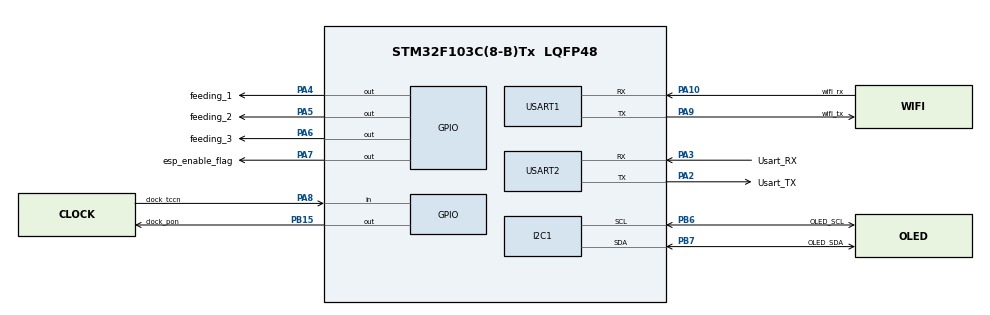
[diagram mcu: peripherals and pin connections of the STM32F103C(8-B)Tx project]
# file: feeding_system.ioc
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Mcu.Family=STM32F1
Mcu.Name=STM32F103C(8-B)Tx
Mcu.Package=LQFP48
NVIC.PriorityGroup=NVIC_PRIORITYGROUP_4
NVIC.USART1_IRQn=true\:0\:0\:false\:false\:true\:false\:true\:true\:true
NVIC.USART2_IRQn=true\:0\:0\:false\:false\:true\:false\:true\:true\:true
PA10.GPIO_Label=wifi_rx
PA10.Mode=Asynchronous
PA10.Signal=USART1_RX
PA13.Mode=Serial_Wire
PA13.Signal=SYS_JTMS-SWDIO
PA14.Mode=Serial_Wire
PA14.Signal=SYS_JTCK-SWCLK
PA2.GPIO_Label=Usart_TX
PA2.Mode=Asynchronous
PA2.Signal=USART2_TX
PA3.GPIO_Label=Usart_RX
PA3.Mode=Asynchronous
PA3.Signal=USART2_RX
PA4.GPIO_Label=feeding_1
PA4.Signal=GPIO_Output
PA5.GPIO_Label=feeding_2
PA5.Signal=GPIO_Output
PA6.GPIO_Label=feeding_3
PA6.Signal=GPIO_Output
PA7.GPIO_Label=esp_enable_flag
PA7.Signal=GPIO_Output
PA8.GPIO_Label=clock_tccn
PA8.Signal=GPIO_Input
PA9.GPIO_Label=wifi_tx
PA9.Mode=Asynchronous
PA9.Signal=USART1_TX
PB15.GPIO_Label=clock_pon
PB15.Signal=GPIO_Output
PB6.GPIO_Label=OLED_SCL
PB6.Mode=I2C
PB6.Signal=I2C1_SCL
PB7.GPIO_Label=OLED_SDA
PB7.Mode=I2C
PB7.Signal=I2C1_SDA
ProjectManager.HeapSize=0x200
ProjectManager.StackSize=0x400
ProjectManager.TargetToolchain=MDK-ARM V5.32
RCC.APB1Freq_Value=8000000
RCC.APB2Freq_Value=8000000
RealThread.RT-Thread.3.1.5.RTOSJjkernel=true
RealThread.RT-Thread.3.1.5.RTOSJjshell=true
USART1.VirtualMode=VM_ASYNC
USART2.VirtualMode=VM_ASYNC
VP_RealThread.RT-Thread_VS_RTOSJjkernel_3.1.5_3.1.5.Mode=RTOSJjkernel
VP_RealThread.RT-Thread_VS_RTOSJjshell_3.1.5_3.1.5.Mode=RTOSJjshell
board=custom

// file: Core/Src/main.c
/* USER CODE BEGIN Header */
/**
  ******************************************************************************
  * @file           : main.c
  * @brief          : Main program body
  ******************************************************************************
  * @attention
  *
  * Copyright (c) 2023 STMicroelectronics.
  * All rights reserved.
  *
  * This software is licensed under terms that can be found in the LICENSE file
  * in the root directory of this software component.
  * If no LICENSE file comes with this software, it is provided AS-IS.
  *
  ******************************************************************************
  */
/* USER CODE END Header */

#include "main.h"
#include "i2c.h"
#include "usart.h"
#include "gpio.h"

/* USER CODE BEGIN Includes */
#include <rtthread.h>
#include "stdio.h"
#include "string.h"
#include "feeding.h"
#include "stdlib.h"
#include "flash.h"
/* USER CODE END Includes */

/* USER CODE BEGIN PV */
#define BUFFER_SIZE 200
/* USER CODE END PV */

void SystemClock_Config(void);

/* USER CODE BEGIN 0 */
#define BUFFER_SIZE 200

uint8_t usart1_c;
uint8_t usart2_c;

uint8_t usart2_rx_buffer[BUFFER_SIZE];
uint8_t usart2_rx_index = 0;

uint8_t usart1_rx_buffer[BUFFER_SIZE];
uint8_t usart1_rx_index = 0;

int feedNumFlag = 0;

void Esp01s_Init(char* ip, char* password, char* port);
void sendData(UART_HandleTypeDef *huart, const char *str);
void parseAndProcessCommand(char *command);
char* extractData(const char* input) ;
void flash_test();
/* USER CODE END 0 */

int main(void)
{

  /* MCU Configuration--------------------------------------------------------*/

  /* Reset of all peripherals, Initializes the Flash interface and the Systick. */
  HAL_Init();

  /* USER CODE BEGIN Init */
  feeding_init();
  /* USER CODE END Init */

  /* Configure the system clock */
  SystemClock_Config();

  /* Initialize all configured peripherals */
  MX_GPIO_Init();
  MX_I2C1_Init();
  MX_USART1_UART_Init();
  MX_USART2_UART_Init();

  Esp01s_Init("AspyRain","Lxr20030106","8080");
  rt_thread_mdelay(500);
  //  rt_thread_t flash_thread = rt_thread_create("flash_test", flash_test, RT_NULL, 2048, 4, 10);
  //rt_thread_startup(flash_thread);
 // flash_test();
  /* Infinite loop */
  /* USER CODE BEGIN WHILE */
  char* w_data = (char*)malloc(50);
  int i=0;
  while (1){
  sprintf(w_data, "this is data: %d",i++);
  flash_write_string(w_data);
  rt_kprintf("Write\n");
  rt_thread_mdelay(1000);
  rt_kprintf("read data is : %s \n",flash_read_string());
  rt_thread_mdelay(1000);
  }
  /* USER CODE END 3 */
}

void SystemClock_Config(void)
{
  RCC_OscInitTypeDef RCC_OscInitStruct = {0};
  RCC_ClkInitTypeDef RCC_ClkInitStruct = {0};

  /** Initializes the RCC Oscillators according to the specified parameters
  * in the RCC_OscInitTypeDef structure.
  */
  RCC_OscInitStruct.OscillatorType = RCC_OSCILLATORTYPE_HSI;
  RCC_OscInitStruct.HSIState = RCC_HSI_ON;
  RCC_OscInitStruct.HSICalibrationValue = RCC_HSICALIBRATION_DEFAULT;
  RCC_OscInitStruct.PLL.PLLState = RCC_PLL_NONE;
  if (HAL_RCC_OscConfig(&RCC_OscInitStruct) != HAL_OK)
  {
    Error_Handler();
  }

  /** Initializes the CPU, AHB and APB buses clocks
  */
  RCC_ClkInitStruct.ClockType = RCC_CLOCKTYPE_HCLK|RCC_CLOCKTYPE_SYSCLK
                              |RCC_CLOCKTYPE_PCLK1|RCC_CLOCKTYPE_PCLK2;
  RCC_ClkInitStruct.SYSCLKSource = RCC_SYSCLKSOURCE_HSI;
  RCC_ClkInitStruct.AHBCLKDivider = RCC_SYSCLK_DIV1;
  RCC_ClkInitStruct.APB1CLKDivider = RCC_HCLK_DIV1;
  RCC_ClkInitStruct.APB2CLKDivider = RCC_HCLK_DIV1;

  if (HAL_RCC_ClockConfig(&RCC_ClkInitStruct, FLASH_LATENCY_0) != HAL_OK)
  {
    Error_Handler();
  }
}
void Esp01s_Init(char* ip, char* password, char* port) {
  // 禁用USART1接收中断
  __HAL_UART_DISABLE_IT(&huart1, UART_IT_RXNE);

  char command[50];
  // 发送初始化指令到ESP01S
  sprintf(command, "AT+CWJAP=\"%s\",\"%s\"\r\n", ip, password);
  sendData(&huart1, command);
  rt_thread_mdelay(1000);  // 等待一段时间

  sprintf(command, "AT+CIPMUX=1\r\n");
  sendData(&huart1, command);
  rt_thread_mdelay(1000);

  sprintf(command, "AT+CIPSERVER=1,%s\r\n", port);
  sendData(&huart1, command);
  rt_thread_mdelay(2000);
  HAL_GPIO_WritePin(esp_enable_flag_GPIO_Port, esp_enable_flag_Pin, GPIO_PIN_SET);

  // 清空接收缓冲区
  huart1.Instance->DR; // 读取数据寄存器，将接收缓冲区中的数据清空

  // 重新启用USART1接收中断
  __HAL_UART_ENABLE_IT(&huart1, UART_IT_RXNE);
  HAL_UART_Receive_IT(&huart1, (uint8_t *)&usart1_c, 1);
  rt_kprintf("初始化完成\n");
}
void sendData(UART_HandleTypeDef *huart, const char *str) {
  HAL_UART_Transmit(huart, (uint8_t *)str, strlen(str), HAL_MAX_DELAY);
}

void HAL_UART_RxCpltCallback(UART_HandleTypeDef *huart) {
  if (huart == &huart1) {

    // 在这里处理接收到的数据
    if (usart1_c == '+') {
      // 开始接收一条新指令
      usart1_rx_index = 0;
    }

    usart1_rx_buffer[usart1_rx_index++] = usart1_c;

    if (strstr((const char*)usart1_rx_buffer, "CLOSED") != NULL) {
      // 收到一条完整的指令

      usart1_rx_buffer[usart1_rx_index] = '\0'; // 添加字符串结束符

      // 在这里解析指令
      parseAndProcessCommand((char*)usart1_rx_buffer);

      // 清空接收缓冲区，准备接收下一条指令
      usart1_rx_index = 0;
      memset(usart1_rx_buffer,0,sizeof(usart1_rx_buffer));
    }
    // 继续启动下一次接收
      HAL_UART_Receive_IT(&huart1, (uint8_t *)&usart1_c, 1);

  }

}

void parseAndProcessCommand(char *command) {
  // 在这里解析和处理指令

  if (command != NULL) {
    char* data=extractData(command);
    // 在这里处理提取出的值
    // 将提取出的值存储到全局变量中
    feedNumFlag =atoi(data);

    if (feedNumFlag>0 && feedNumFlag<4){
     toggle_feed(feedNumFlag);
    }
  }
}
char* extractData(const char* input) {
    // 找到真正数据的起始位置
    const char* dataStart = strstr(input, ":");
    if (dataStart == NULL) {
        // 如果没有找到冒号，返回空指针表示失败
        return NULL;
    }

    // 获取真正数据的长度
    int dataLength = atoi(input + 7);

    // 分配足够的空间来存储真正数据
    char* extractedData = (char*)malloc((dataLength + 1) * sizeof(char));

    // 复制真正数据到提取的字符串中
    strncpy(extractedData, dataStart + 1, dataLength);
    extractedData[dataLength] = '\0'; // 添加字符串终止符

    return extractedData;
}
void flash_test(){

}
/* USER CODE END 4 */

void Error_Handler(void)
{
  __disable_irq();
  while (1)
  {
  }
}
